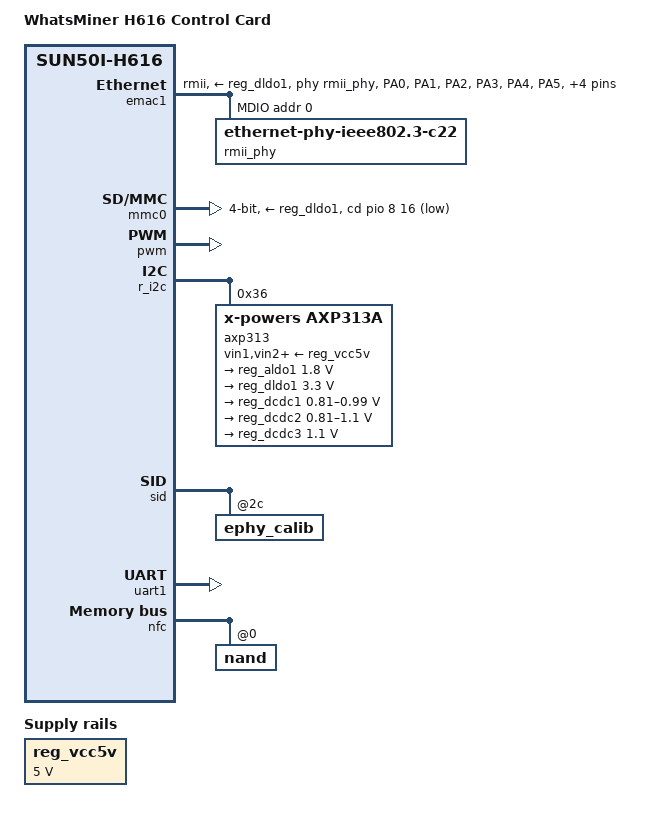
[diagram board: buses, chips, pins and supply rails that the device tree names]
// SPDX-License-Identifier: (GPL-2.0+ OR MIT)
/*
 * Copyright (C) 2021 Arm Ltd.
 */

/dts-v1/;

#include "sun50i-h616.dtsi"
#include "sun50i-h616-cpu-opp.dtsi"

#include <dt-bindings/gpio/gpio.h>
#include <dt-bindings/interrupt-controller/arm-gic.h>

/ {
	model = "WhatsMiner H616 Control Card";
	compatible = "whatsminer,h616", "allwinner,sun50i-h616";

	aliases {
		ethernet0 = &emac1;
		serial1 = &uart1;
	};

	chosen {
		bootargs = "console=ttyS1,115200 loglevel=8";
		stdout-path = "serial1:115200n8";
	};

	reg_vcc5v: vcc5v {
		/* board wide 5V supply directly from the DC input */
		compatible = "regulator-fixed";
		regulator-name = "vcc-5v";
		regulator-min-microvolt = <5000000>;
		regulator-max-microvolt = <5000000>;
		regulator-always-on;
	};
};

&{/soc} {
	emac1: ethernet@5030000 {
		compatible = "allwinner,sun50i-h616-emac";
		reg = <0x05030000 0x10000>;
		interrupts = <GIC_SPI 15 IRQ_TYPE_LEVEL_HIGH>;
		interrupt-names = "macirq";
		resets = <&ccu RST_BUS_EMAC1>;
		reset-names = "stmmaceth";
		clocks = <&ccu CLK_BUS_EMAC1>;
		clock-names = "stmmaceth";
		syscon = <&syscon 1>;
		pinctrl-names = "default";
		pinctrl-0 = <&rmii_pins>;
		phy-mode = "rmii";
		status = "disabled";

		mdio1: mdio {
			compatible = "snps,dwmac-mdio";
			#address-cells = <1>;
			#size-cells = <0>;
		};
	};
};

&emac1 {
	pinctrl-names = "default";
	pinctrl-0 = <&rmii_pins>;
	phy-handle = <&rmii_phy>;
	phy-supply = <&reg_dldo1>;
	allwinner,rx-delay-ps = <3100>;
	allwinner,tx-delay-ps = <700>;
	status = "okay";
};

&cpu0 {
	cpu-supply = <&reg_dcdc2>;
};

&mmc0 {
	vmmc-supply = <&reg_dldo1>;
	vqmmc-supply = <&reg_aldo1>;
	cd-gpios = <&pio 8 16 GPIO_ACTIVE_LOW>;	/* PI16 */
	bus-width = <4>;
	status = "okay";
};

&mdio1 {
	rmii_phy: ethernet-phy@0 {
		compatible = "ethernet-phy-ieee802.3-c22";
		reg = <0>;
		clocks = <&ccu CLK_EMAC_25M>;
	};
};

&pio {
	vcc-pa-supply = <&reg_dldo1>;
	vcc-pc-supply = <&reg_dldo1>;
	vcc-pe-supply = <&reg_dldo1>;
	vcc-pf-supply = <&reg_dldo1>;
	vcc-pg-supply = <&reg_aldo1>;
	vcc-ph-supply = <&reg_dldo1>;
	vcc-pi-supply = <&reg_dldo1>;

	pwm5_pin: pwm5-pin {
		pins = "PA12";
		function = "pwm5";
		bias-pull-up;
	};

	rmii_pins: rmii-pins {
		pins = "PA0", "PA1", "PA2", "PA3", "PA4",
		       "PA5", "PA6", "PA7", "PA8", "PA9";
		function = "emac1";
		drive-strength = <40>;
	};

	i2c3_pa_pins: i2c3-pa-pins {
		pins = "PA10", "PA11";
		function = "i2c3";
		bias-pull-up;
	};

	i2c3_pa_pins_idle: i2c3-pa-pins-idle {
		pins = "PA10", "PA11";
		function = "gpio_out";
		drive-open-drain;
		bias-pull-up;
		output-high;
	};

	i2c3_ph_pins: i2c3-ph-pins {
		pins = "PH4", "PH5";
		function = "i2c3";
	};
};

&pwm {
	status = "okay";
};

&r_i2c {
	status = "okay";

	axp313: pmic@36 {
		compatible = "x-powers,axp313a";
		reg = <0x36>;
		#interrupt-cells = <1>;
		interrupt-controller;
		//interrupt-parent = <&pio>;
		//interrupts = <2 9 IRQ_TYPE_LEVEL_LOW>;	/* PC9 */

		vin1-supply = <&reg_vcc5v>;
		vin2-supply = <&reg_vcc5v>;
		vin3-supply = <&reg_vcc5v>;

		regulators {
			reg_aldo1: aldo1 {
				regulator-always-on;
				regulator-min-microvolt = <1800000>;
				regulator-max-microvolt = <1800000>;
				regulator-name = "vcc-1v8-pll";
			};

			reg_dldo1: dldo1 {
				regulator-always-on;
				regulator-min-microvolt = <3300000>;
				regulator-max-microvolt = <3300000>;
				regulator-name = "vcc-3v3-io";
			};

			reg_dcdc1: dcdc1 {
				regulator-always-on;
				regulator-min-microvolt = <810000>;
				regulator-max-microvolt = <990000>;
				regulator-name = "vdd-gpu-sys";
			};

			reg_dcdc2: dcdc2 {
				regulator-always-on;
				regulator-min-microvolt = <810000>;
				regulator-max-microvolt = <1100000>;
				regulator-name = "vdd-cpu";
			};

			reg_dcdc3: dcdc3 {
				regulator-always-on;
				regulator-min-microvolt = <1100000>;
				regulator-max-microvolt = <1100000>;
				regulator-name = "vdd-dram";
			};
		};
	};
};

&sid {
	ephy_calib: ephy_calib@2c {
		reg = <0x2c 0x2>;
	};
};

&uart1 {
	//pinctrl-names = "default";
	//pinctrl-0 = <&uart1_pins>;
	status = "okay";
};

&nfc {
	status = "okay";

	// DMA is not working for now
	/delete-property/ dmas;
	/delete-property/ dma-names;
	pinctrl-names = "default";
	pinctrl-0 = <&nand_pins> , <&nand_cs0_pin>, <&nand_rb0_pin>;
	nand@0 {
		/* TC58NVG1SHTA00 */
		reg = <0>;
		allwinner,rb = <0>;
		/* let's try with none first */
		nand-ecc-mode = "hw";
		/*
		 * This nand requires only 8 bits per 512b
		 * but if we can correct more, let's do it
		 */
		nand-ecc-strength = <8>;
		nand-ecc-step-size = <512>;
		nand-ecc-maximize;
	};
};

/*
&usbotg {
	dr_mode = "host";
	status = "okay";
};

&usbphy {
	status = "okay";
};
*/
